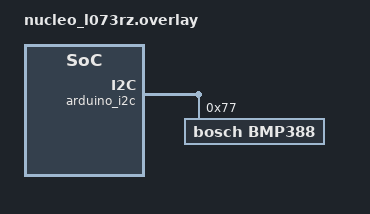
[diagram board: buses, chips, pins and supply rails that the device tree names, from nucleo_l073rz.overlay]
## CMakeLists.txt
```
# SPDX-License-Identifier: Apache-2.0

cmake_minimum_required(VERSION 3.13.1)
include($ENV{ZEPHYR_BASE}/cmake/app/boilerplate.cmake NO_POLICY_SCOPE)
project(bmp388)

FILE(GLOB app_sources src/*.c)
target_sources(app PRIVATE ${app_sources})
```

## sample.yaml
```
sample:
  name: BMP388 Sensor sample
tests:
  sample.sensor.bmp388:
    harness: console
    tags: sensors
    depends_on: i2c bmp388
    harness_config:
        type: one_line
        regex:
            - "press: (.*) kPa; temp: (.*) oC; altitude: (.*) m"
        fixture: fixture_i2c_bmp388
```

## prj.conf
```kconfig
# Sample settings
CONFIG_I2C=y
CONFIG_SENSOR=y
CONFIG_BMP388=y

# Need float format support
CONFIG_NEWLIB_LIBC=y
CONFIG_NEWLIB_LIBC_FLOAT_PRINTF=y
```

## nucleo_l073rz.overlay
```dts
/*
 * Copyright (c) 2020 Ioannis Konstantelias
 *
 * SPDX-License-Identifier: Apache-2.0
 */

&arduino_i2c {

	bmp388@77 {
		compatible = "bosch,bmp388";
		reg = <0x77>;
		label = "BMP388";
	};

};
```

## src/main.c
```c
/*
 * Copyright (c) 2020 Ioannis Konstantelias
 *
 * SPDX-License-Identifier: Apache-2.0
 */

#include <zephyr.h>
#include <device.h>
#include <drivers/sensor.h>
#include <stdio.h>
#include <math.h>

struct sample_data {
	struct device *bmp388_dev;
	float zero_pressure;
};

struct sample_data data;

int zero_pressure(void)
{
	int i;
	struct sensor_value press;

	/* Dropout the first 10 measurements to initialize the filter */
	for (i = 0; i < 10; i++) {
		sensor_sample_fetch(data.bmp388_dev);
		k_sleep(K_MSEC(100));
	}

	data.zero_pressure = 0.f;
	for (i = 0; i < 10; i++) {
		sensor_sample_fetch(data.bmp388_dev);
		sensor_channel_get(data.bmp388_dev, SENSOR_CHAN_PRESS, &press);

		data.zero_pressure += sensor_value_to_double(&press);
		k_sleep(K_MSEC(100));
	}

	data.zero_pressure /= 10;

	return 0;
}

float calculate_altitude(float pressure, float zero_p, float temperature)
{
	return (1.f - pow(pressure / zero_p, 0.19022256f)) *
	       (temperature + 273.15f) / 0.0065f;
}

static void bmp388_config(struct device *bmp388)
{
	struct sensor_value osr_attr;

	/* set BMP388 pressure oversampling to x32 &
	 * temperature oversampling to x2
	 */
	osr_attr.val1 = 32;
	osr_attr.val2 = 2;

	if (sensor_attr_set(bmp388, SENSOR_CHAN_ALL,
			    SENSOR_ATTR_OVERSAMPLING, &osr_attr) < 0) {
		printk("Cannot set oversampling options for BMP388\n");
		return;
	}
}

void main(void)
{
	data.bmp388_dev = device_get_binding("BMP388");
	if (!data.bmp388_dev) {
		printf("Could not get BMP388 device\n");
		return;
	}

	printf("dev %p name %s\n", data.bmp388_dev,
	       data.bmp388_dev->config->name);

	bmp388_config(data.bmp388_dev);

	printk("Zeroing the pressure\n");
	zero_pressure();

	while (1) {
		struct sensor_value temp, press;

		sensor_sample_fetch(data.bmp388_dev);
		sensor_channel_get(data.bmp388_dev, SENSOR_CHAN_PRESS, &press);
		sensor_channel_get(data.bmp388_dev, SENSOR_CHAN_AMBIENT_TEMP,
				   &temp);

		float pressure = sensor_value_to_double(&press);
		float temperature = sensor_value_to_double(&temp);

		printf("press: % 8.04f kPa; temp: % 6.02f oC",
		       pressure, temperature);
		printf("; altitude: %4.1f m\n",
		       calculate_altitude(pressure, data.zero_pressure,
					  temperature));

		k_sleep(K_MSEC(100));
	}
}
```
